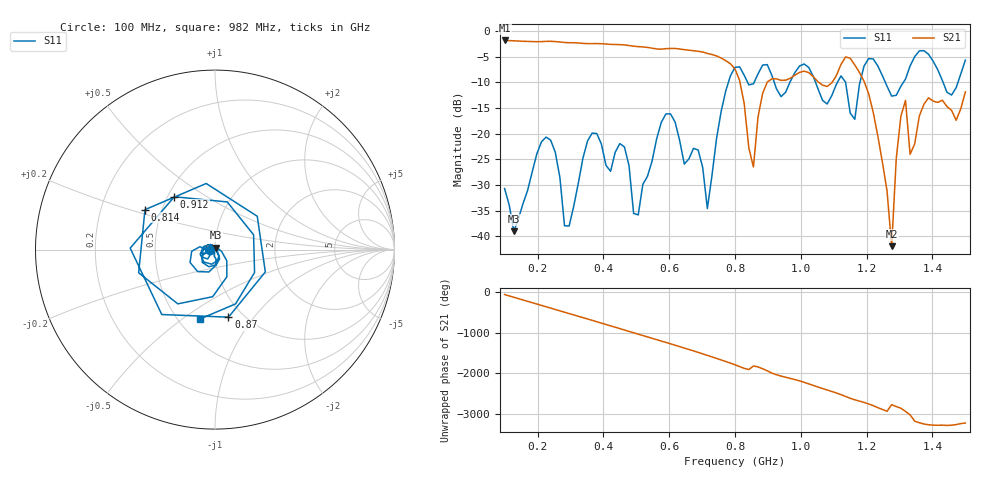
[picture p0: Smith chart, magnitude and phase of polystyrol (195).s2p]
! NanoVNA-App
! Date: 2025-09-25 15:31:24
! Start: 100MHz Stop: 1,5GHz Points: 101
! S-Parameter data: F S11 S21 S12 S22
# Hz S RI R 50
!  Frequency  S11_Real  S11_Imag  S21_Real  S21_Imag  S12_Real  S12_Imag  S22_Real  S22_Imag
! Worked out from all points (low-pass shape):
!   101 points, 100 MHz to 1.5 GHz, reference 50 ohm
!   highest |S21| = -1.80 dB at 100 MHz (marker M1); lowest = -41.9 dB at 1.276 GHz (marker M2)
!   |S21| within 3 dB of the highest: start of sweep to 742.9 MHz
!   lowest |S11| = -39.0 dB at 128 MHz (marker M3), VSWR 1.02, Z = 50.3 + j1.07 ohm
!   |S11| at or under -10 dB: start of sweep to 779.8 MHz; 1.045 GHz to 1.111 GHz (66.15 MHz wide, 6.14 % of centre); 1.257 GHz to 1.311 GHz (54.44 MHz wide, 4.24 % of centre)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
!   S12 and S22 are empty: the file has one direction only
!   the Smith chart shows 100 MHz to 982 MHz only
!   S11 on the Smith chart (normalised r, x): 100 MHz: 0.94, -0.01; 814 MHz: 0.40, +0.22; 870 MHz: 0.86, -0.76; 912 MHz: 0.54, +0.37; 982 MHz: 0.64, -0.58
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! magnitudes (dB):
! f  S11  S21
! 100 MHz  -30.7  -1.8
! 128 MHz  -39.0  -1.9
! 212 MHz  -21.6  -2.0
! 282 MHz  -38.0  -2.2
! 338 MHz  -24.8  -2.4
! 464 MHz  -22.6  -2.7
! 506 MHz  -35.8  -3.0
! 576 MHz  -17.8  -3.5
! 716 MHz  -34.6  -4.3
! 800 MHz  -7.0  -7.4
! 814 MHz  -7.0  -9.6
! 856 MHz  -10.3  -26.5
! 870 MHz  -8.3  -16.7
! 912 MHz  -8.6  -9.3
! 982 MHz  -8.1  -8.6
! 1.038 GHz  -8.8  -8.9
! 1.164 GHz  -17.2  -6.6
! 1.192 GHz  -6.8  -9.7
! 1.276 GHz  -12.7  -41.9
! 1.318 GHz  -9.3  -13.5
! 1.332 GHz  -6.8  -24.0
! 1.5 GHz  -5.6  -11.8
